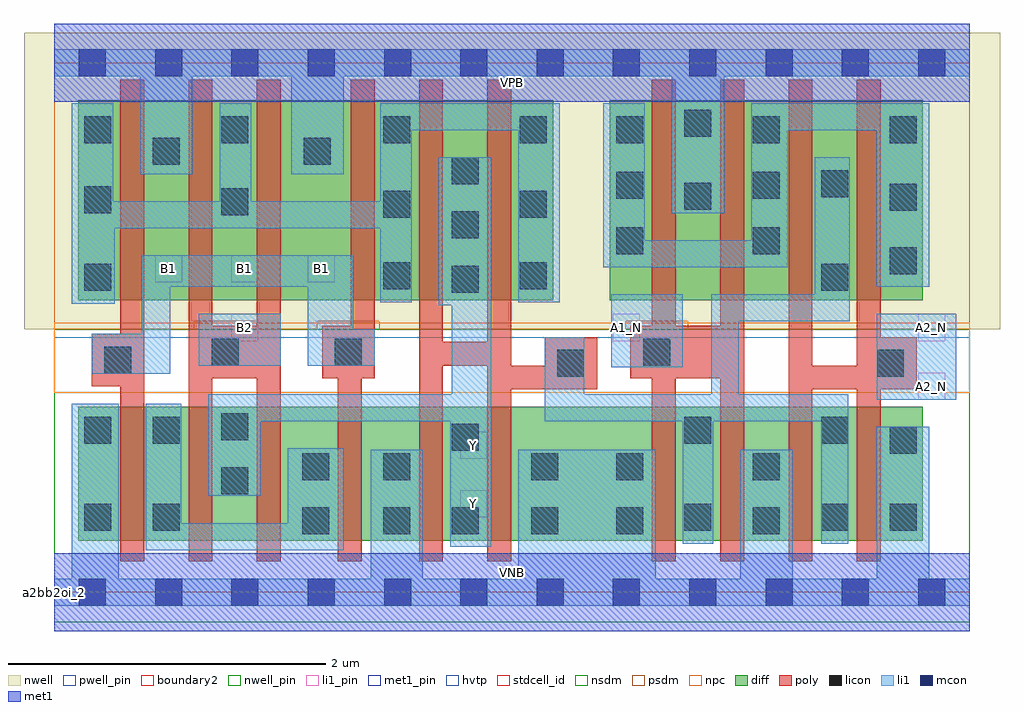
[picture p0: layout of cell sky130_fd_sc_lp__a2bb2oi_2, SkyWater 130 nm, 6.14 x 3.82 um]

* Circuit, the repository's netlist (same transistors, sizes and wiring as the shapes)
* Copyright 2020 The SkyWater PDK Authors
*
* Licensed under the Apache License, Version 2.0 (the "License");
* you may not use this file except in compliance with the License.
* You may obtain a copy of the License at
*
*     https://www.apache.org/licenses/LICENSE-2.0
*
* Unless required by applicable law or agreed to in writing, software
* distributed under the License is distributed on an "AS IS" BASIS,
* WITHOUT WARRANTIES OR CONDITIONS OF ANY KIND, either express or implied.
* See the License for the specific language governing permissions and
* limitations under the License.
*
* SPDX-License-Identifier: Apache-2.0

.SUBCKT sky130_fd_sc_lp__a2bb2oi_2 A1_N A2_N B1 B2 VGND VNB VPB VPWR Y
*.PININFO A1_N:I A2_N:I B1:I B2:I VGND:I VNB:I VPB:I VPWR:I Y:O
MMNnor0 inor A1_N VGND VNB sky130_fd_pr__nfet_01v8 m=2 w=0.84U l=0.15U mult=1 sa=0.265
+ sb=0.265 sd=0.28 area=0.063 perim=1.14
MMNnor1 inor A2_N VGND VNB sky130_fd_pr__nfet_01v8 m=2 w=0.84U l=0.15U mult=1 sa=0.265
+ sb=0.265 sd=0.28 area=0.063 perim=1.14
MMNaoi10 VGND B1 sndNB1 VNB sky130_fd_pr__nfet_01v8 m=2 w=0.84U l=0.15U mult=1
+ sa=0.265 sb=0.265 sd=0.28 area=0.063 perim=1.14
MMNaoi11 sndNB1 B2 Y VNB sky130_fd_pr__nfet_01v8 m=2 w=0.84U l=0.15U mult=1 sa=0.265
+ sb=0.265 sd=0.28 area=0.063 perim=1.14
MMNaoi20 Y inor VGND VNB sky130_fd_pr__nfet_01v8 m=2 w=0.84U l=0.15U mult=1 sa=0.265
+ sb=0.265 sd=0.28 area=0.063 perim=1.14
MMPnor0 VPWR A1_N sndPA1N VPB sky130_fd_pr__pfet_01v8_hvt m=2 w=1.26U l=0.15U mult=1
+ sa=0.265 sb=0.265 sd=0.28 area=0.063 perim=1.14
MMPnor1 sndPA1N A2_N inor VPB sky130_fd_pr__pfet_01v8_hvt m=2 w=1.26U l=0.15U mult=1
+ sa=0.265 sb=0.265 sd=0.28 area=0.063 perim=1.14
MMPaoi10 pmid B1 VPWR VPB sky130_fd_pr__pfet_01v8_hvt m=2 w=1.26U l=0.15U mult=1
+ sa=0.265 sb=0.265 sd=0.28 area=0.063 perim=1.14
MMPaoi11 pmid B2 VPWR VPB sky130_fd_pr__pfet_01v8_hvt m=2 w=1.26U l=0.15U mult=1
+ sa=0.265 sb=0.265 sd=0.28 area=0.063 perim=1.14
MMPaoi20 Y inor pmid VPB sky130_fd_pr__pfet_01v8_hvt m=2 w=1.26U l=0.15U mult=1
+ sa=0.265 sb=0.265 sd=0.28 area=0.063 perim=1.14
.ENDS sky130_fd_sc_lp__a2bb2oi_2

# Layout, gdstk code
import gdstk
lib = gdstk.Library(unit=1e-6, precision=1e-09)
def R(c, l, rs):  # rectangles x0, y0, x1, y1
    for r in rs: c.add(gdstk.rectangle(r[:2], r[2:], *l))
def A(c, l, x, y, w, h, nx, ny, dx, dy):  # array of equal rectangles
    R(c, l, [(x+i*dx, y+j*dy, x+i*dx+w, y+j*dy+h) for i in range(nx) for j in range(ny)])
def P(c, l, *ps):  # polygons
    for p in ps: c.add(gdstk.Polygon(p, *l))
nwell_pin = (64, 16)
nwell = (64, 20)
diff = (65, 20)
poly = (66, 20)
licon = (66, 44)
li1_pin = (67, 16)
li1 = (67, 20)
mcon = (67, 44)
met1_pin = (68, 16)
met1 = (68, 20)
hvtp = (78, 44)
stdcell_id = (81, 4)
nsdm = (93, 44)
psdm = (94, 20)
npc = (95, 20)
pwell_pin = (122, 16)
boundary2 = (236, 0)

sky130_fd_sc_lp__a2bb2oi = lib.new_cell('sky130_fd_sc_lp__a2bb2oi_2')
R(sky130_fd_sc_lp__a2bb2oi, nwell_pin, [(0,3.085,5.76,3.33)])
R(sky130_fd_sc_lp__a2bb2oi, nwell, [(-0.19,1.655,5.95,3.52)])
R(sky130_fd_sc_lp__a2bb2oi, diff, [(0.15,0.325,5.465,1.165), (0.15,1.835,3.14,3.095), (3.495,1.835,5.465,3.095)])
P(sky130_fd_sc_lp__a2bb2oi, poly, [(0.565,3.225),(0.415,3.225),(0.415,1.625),(0.235,1.625),(0.235,1.295),(0.415,1.295),(0.415,0.195),(0.565,0.195)],
  [(1.425,3.225),(1.275,3.225),(1.275,1.675),(0.995,1.675),(0.995,3.225),(0.845,3.225),(0.845,0.195),(0.995,0.195),(0.995,1.345),(1.275,1.345),(1.275,0.195),(1.425,0.195)],
  [(2.015,3.225),(1.865,3.225),(1.865,1.675),(1.685,1.675),(1.685,1.345),(1.785,1.345),(1.785,0.195),(1.935,0.195),(1.935,1.345),(2.015,1.345)],
  [(3.415,1.605),(3.085,1.605),(3.085,1.425),(2.875,1.425),(2.875,3.225),(2.725,3.225),(2.725,1.575),(2.445,1.575),(2.445,3.225),(2.295,3.225),(2.295,0.195),(2.445,0.195),(2.445,1.425),(2.725,1.425),(2.725,0.195),(2.875,0.195),(2.875,1.275),(3.415,1.275)],
  [(4.34,3.225),(4.19,3.225),(4.19,1.675),(3.91,1.675),(3.91,3.225),(3.76,3.225),(3.76,1.675),(3.625,1.675),(3.625,1.345),(3.76,1.345),(3.76,0.195),(3.91,0.195),(3.91,1.345),(4.19,1.345),(4.19,0.195),(4.34,0.195)],
  [(5.425,1.605),(5.2,1.605),(5.2,3.225),(5.05,3.225),(5.05,1.425),(4.77,1.425),(4.77,3.225),(4.62,3.225),(4.62,0.195),(4.77,0.195),(4.77,1.275),(5.05,1.275),(5.05,0.195),(5.2,0.195),(5.2,1.275),(5.425,1.275)])
A(sky130_fd_sc_lp__a2bb2oi, licon, 2.5, 1.885, 0.17, 0.17, 1, 3, 0, 0.34)
A(sky130_fd_sc_lp__a2bb2oi, licon, 3.535, 2.825, 0.17, 0.17, 3, 1, 0.86, 0)
R(sky130_fd_sc_lp__a2bb2oi, licon, [(1.56,0.365,1.73,0.535), (2.07,0.365,2.24,0.535), (2.5,0.365,2.67,0.535), (3,0.365,3.17,0.535), (3.535,0.365,3.705,0.535), (4.395,0.365,4.565,0.535), (0.19,0.385,0.36,0.555), (0.62,0.385,0.79,0.555), (3.965,0.385,4.135,0.555), (4.825,0.385,4.995,0.555), (5.255,0.385,5.425,0.555), (1.05,0.615,1.22,0.785), (1.56,0.705,1.73,0.875), (2.07,0.705,2.24,0.875), (3,0.705,3.17,0.875), (3.535,0.705,3.705,0.875), (4.395,0.705,4.565,0.875), (5.255,0.87,5.425,1.04), (2.5,0.89,2.67,1.06), (0.19,0.935,0.36,1.105), (0.62,0.935,0.79,1.105), (3.965,0.935,4.135,1.105), (4.825,0.935,4.995,1.105), (1.05,0.955,1.22,1.125), (3.165,1.355,3.335,1.525), (5.175,1.355,5.345,1.525), (0.315,1.375,0.485,1.545), (0.99,1.425,1.16,1.595), (1.765,1.425,1.935,1.595), (3.705,1.425,3.875,1.595), (0.19,1.895,0.36,2.065), (4.825,1.895,4.995,2.065), (2.07,1.905,2.24,2.075), (2.93,1.905,3.1,2.075), (5.255,2,5.425,2.17), (3.535,2.125,3.705,2.295), (4.395,2.125,4.565,2.295), (2.07,2.355,2.24,2.525), (2.93,2.355,3.1,2.525), (1.05,2.37,1.22,2.54), (0.19,2.385,0.36,2.555), (5.255,2.4,5.425,2.57), (3.965,2.405,4.135,2.575), (3.535,2.475,3.705,2.645), (4.395,2.475,4.565,2.645), (4.825,2.485,4.995,2.655), (0.62,2.69,0.79,2.86), (1.57,2.69,1.74,2.86), (0.19,2.825,0.36,2.995), (1.05,2.825,1.22,2.995), (2.07,2.825,2.24,2.995), (2.93,2.825,3.1,2.995), (3.965,2.865,4.135,3.035)])
A(sky130_fd_sc_lp__a2bb2oi, li1_pin, 0.635, 1.95, 0.17, 0.17, 3, 1, 0.48, 0)
R(sky130_fd_sc_lp__a2bb2oi, li1_pin, [(2.555,0.47,2.725,0.64), (2.555,0.84,2.725,1.01), (5.435,1.21,5.605,1.38), (1.115,1.58,1.285,1.75), (3.515,1.58,3.685,1.75), (5.435,1.58,5.605,1.75)])
R(sky130_fd_sc_lp__a2bb2oi, li1, [(5.175,1.21,5.675,1.75), (3.505,1.415,3.955,1.875), (0.91,1.425,1.425,1.75)])
P(sky130_fd_sc_lp__a2bb2oi, li1, [(1.49,2.63),(1.49,3.245),(0.87,3.245),(0.87,2.63),(0.54,2.63),(0.54,3.245),(0,3.245),(0,3.415),(5.76,3.415),(5.76,3.245),(4.215,3.245),(4.215,2.385),(3.885,2.385),(3.885,3.245),(1.82,3.245),(1.82,2.63)],
  [(1.99,0.085),(1.99,0.895),(2.32,0.895),(2.32,0.085),(2.92,0.085),(2.92,0.895),(3.785,0.895),(3.785,0.085),(4.315,0.085),(4.315,0.895),(4.645,0.895),(4.645,0.085),(5.175,0.085),(5.175,1.04),(5.505,1.04),(5.505,0.085),(5.76,0.085),(5.76,-0.085),(0,-0.085),(0,0.085),(0.11,0.085),(0.11,1.185),(0.405,1.185),(0.405,0.085)],
  [(0.55,2.12),(1.88,2.12),(1.88,1.655),(2.015,1.655),(2.015,1.425),(1.595,1.425),(1.595,1.92),(0.73,1.92),(0.73,1.375),(0.235,1.375),(0.235,1.625),(0.55,1.625)],
  [(2.49,0.285),(2.49,1.075),(1.3,1.075),(1.3,0.605),(0.97,0.605),(0.97,1.245),(2.5,1.245),(2.5,1.805),(2.42,1.805),(2.42,2.735),(2.75,2.735),(2.75,0.285)],
  [(3.715,2.215),(4.385,2.215),(4.385,3.075),(5.505,3.075),(5.505,1.92),(5.175,1.92),(5.175,2.905),(4.615,2.905),(4.615,2.045),(3.455,2.045),(3.455,3.075),(3.715,3.075)],
  [(4.135,1.875),(4.785,1.875),(4.785,2.735),(5.005,2.735),(5.005,1.705),(4.305,1.705),(4.305,1.245),(4.995,1.245),(4.995,0.305),(4.825,0.305),(4.825,1.075),(4.145,1.075),(4.145,0.305),(3.955,0.305),(3.955,1.075),(3.085,1.075),(3.085,1.605),(3.335,1.605),(3.335,1.245),(4.135,1.245)],
  [(2.92,2.905),(2.25,2.905),(2.25,1.825),(2.05,1.825),(2.05,2.29),(0.38,2.29),(0.38,1.815),(0.11,1.815),(0.11,3.075),(0.37,3.075),(0.37,2.46),(1.04,2.46),(1.04,3.075),(1.24,3.075),(1.24,2.46),(2.05,2.46),(2.05,3.075),(3.18,3.075),(3.18,1.825),(2.92,1.825)],
  [(0.8,0.435),(1.47,0.435),(1.47,0.905),(1.82,0.905),(1.82,0.265),(0.575,0.265),(0.575,1.185),(0.8,1.185)])
A(sky130_fd_sc_lp__a2bb2oi, mcon, 0.155, -0.085, 0.17, 0.17, 12, 2, 0.48, 3.33)
R(sky130_fd_sc_lp__a2bb2oi, met1_pin, [(0,0,5.76,0.245), (0,3.085,5.76,3.33)])
R(sky130_fd_sc_lp__a2bb2oi, met1, [(0,-0.245,5.76,0.245), (0,3.085,5.76,3.575)])
R(sky130_fd_sc_lp__a2bb2oi, hvtp, [(0,1.6,5.76,3.33)])
R(sky130_fd_sc_lp__a2bb2oi, stdcell_id, [(0,0,5.76,3.33)])
R(sky130_fd_sc_lp__a2bb2oi, nsdm, [(0,-0.19,5.76,1.655)])
P(sky130_fd_sc_lp__a2bb2oi, psdm, [(5.76,3.52),(0,3.52),(0,1.655),(0.88,1.655),(0.88,1.705),(1.27,1.705),(1.27,1.655),(1.655,1.655),(1.655,1.705),(2.045,1.705),(2.045,1.655),(3.595,1.655),(3.595,1.705),(3.985,1.705),(3.985,1.655),(5.76,1.655)])
R(sky130_fd_sc_lp__a2bb2oi, npc, [(0,1.255,5.76,1.695)])
R(sky130_fd_sc_lp__a2bb2oi, pwell_pin, [(0,0,5.76,0.245)])
R(sky130_fd_sc_lp__a2bb2oi, boundary2, [(0,0,5.76,3.33)])
sky130_fd_sc_lp__a2bb2oi.add(gdstk.Label('VNB', (2.88,0.123), layer=64, texttype=59))
sky130_fd_sc_lp__a2bb2oi.add(gdstk.Label('VPB', (2.88,3.208), layer=64, texttype=5))
sky130_fd_sc_lp__a2bb2oi.add(gdstk.Label('a2bb2oi_2', (0,0), layer=83, texttype=44))
sky130_fd_sc_lp__a2bb2oi.add(gdstk.Label('VPWR', (2.88,3.208), layer=68, texttype=5))
sky130_fd_sc_lp__a2bb2oi.add(gdstk.Label('VGND', (2.88,0.123), layer=68, texttype=5))
sky130_fd_sc_lp__a2bb2oi.add(gdstk.Label('A1_N', (3.6,1.665), layer=67, texttype=5))
sky130_fd_sc_lp__a2bb2oi.add(gdstk.Label('A2_N', (5.52,1.295), layer=67, texttype=5))
sky130_fd_sc_lp__a2bb2oi.add(gdstk.Label('A2_N', (5.52,1.665), layer=67, texttype=5))
sky130_fd_sc_lp__a2bb2oi.add(gdstk.Label('B1', (0.72,2.035), layer=67, texttype=5))
sky130_fd_sc_lp__a2bb2oi.add(gdstk.Label('B1', (1.2,2.035), layer=67, texttype=5))
sky130_fd_sc_lp__a2bb2oi.add(gdstk.Label('B1', (1.68,2.035), layer=67, texttype=5))
sky130_fd_sc_lp__a2bb2oi.add(gdstk.Label('B2', (1.2,1.665), layer=67, texttype=5))
sky130_fd_sc_lp__a2bb2oi.add(gdstk.Label('Y', (2.64,0.555), layer=67, texttype=5))
sky130_fd_sc_lp__a2bb2oi.add(gdstk.Label('Y', (2.64,0.925), layer=67, texttype=5))

lib.write_gds('sky130_fd_sc_lp__a2bb2oi_2.gds')
